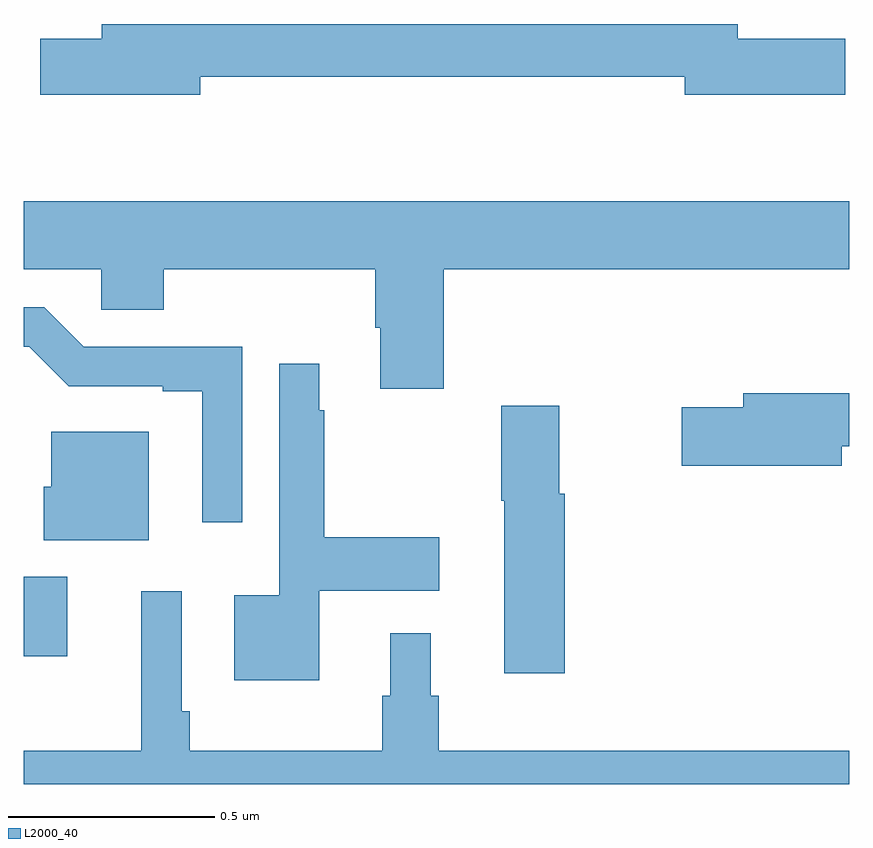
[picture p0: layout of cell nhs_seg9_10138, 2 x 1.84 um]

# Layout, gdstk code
import gdstk
lib = gdstk.Library(unit=1e-6, precision=1e-09)
def R(c, l, rs):  # rectangles x0, y0, x1, y1
    for r in rs: c.add(gdstk.rectangle(r[:2], r[2:], *l))
def P(c, l, *ps):  # polygons
    for p in ps: c.add(gdstk.Polygon(p, *l))
L2000_40 = (2000, 40)

nhs_seg9_10138 = lib.new_cell('nhs_seg9_10138')
R(nhs_seg9_10138, L2000_40, [(239,1200.81,239.105,1201.002)])
P(nhs_seg9_10138, L2000_40, [(239.428,1202.214),(240.602,1202.214),(240.602,1202.171),(240.991,1202.171),(240.991,1202.306),(240.73,1202.306),(240.73,1202.342),(239.189,1202.342),(239.189,1202.306),(239.04,1202.306),(239.04,1202.171),(239.428,1202.171)],
  [(240.017,1201.748),(241,1201.748),(241,1201.912),(239,1201.912),(239,1201.748),(239.187,1201.748),(239.187,1201.65),(239.339,1201.65),(239.339,1201.748),(239.852,1201.748),(239.852,1201.606),(239.864,1201.606),(239.864,1201.458),(240.017,1201.458)],
  [(239.529,1201.56),(239.145,1201.56),(239.049,1201.656),(239,1201.656),(239,1201.56),(239.013,1201.56),(239.109,1201.464),(239.336,1201.464),(239.336,1201.452),(239.432,1201.452),(239.432,1201.134),(239.529,1201.134)],
  [(239.716,1200.968),(240.007,1200.968),(240.007,1201.098),(239.728,1201.098),(239.728,1201.406),(239.716,1201.406),(239.716,1201.519),(239.619,1201.519),(239.619,1200.958),(239.51,1200.958),(239.51,1200.752),(239.716,1200.752)],
  [(240.982,1201.318),(241,1201.318),(241,1201.447),(240.743,1201.447),(240.743,1201.413),(240.594,1201.413),(240.594,1201.271),(240.982,1201.271)],
  [(240.311,1201.204),(240.298,1201.204),(240.298,1201.417),(240.157,1201.417),(240.157,1201.186),(240.164,1201.186),(240.164,1200.768),(240.311,1200.768)],
  [(239.302,1201.354),(239.066,1201.354),(239.066,1201.221),(239.048,1201.221),(239.048,1201.091),(239.302,1201.091)],
  [(241,1200.58),(240.005,1200.58),(240.005,1200.714),(239.986,1200.714),(239.986,1200.865),(239.888,1200.865),(239.888,1200.714),(239.869,1200.714),(239.869,1200.58),(239.402,1200.58),(239.402,1200.676),(239.382,1200.676),(239.382,1200.967),(239.285,1200.967),(239.285,1200.58),(239,1200.58),(239,1200.5),(241,1200.5)])

lib.write_gds('nhs_seg9_10138.gds')
